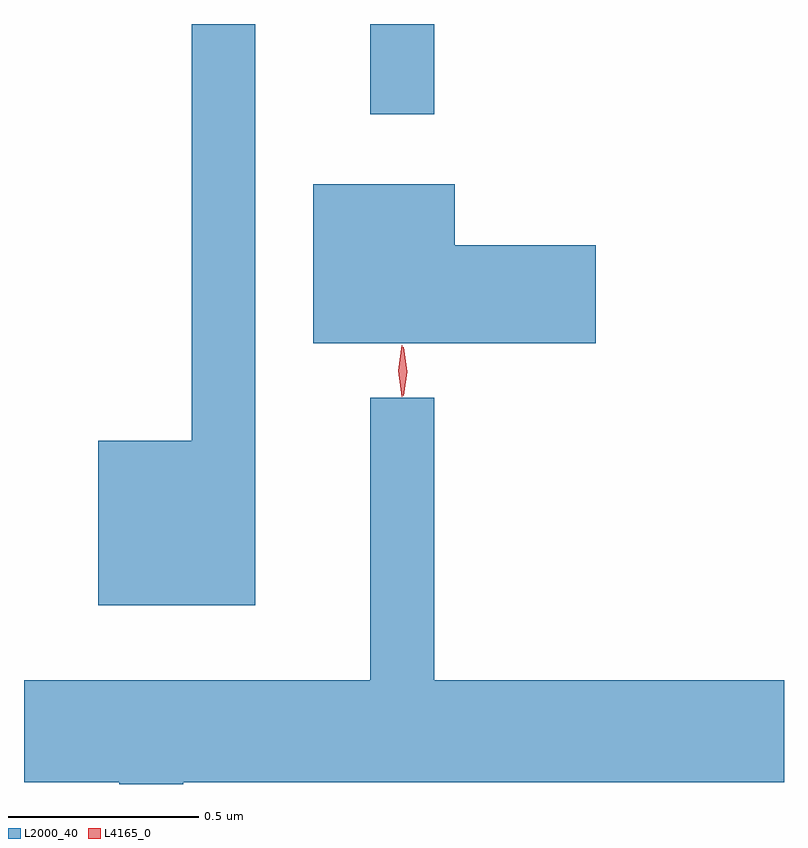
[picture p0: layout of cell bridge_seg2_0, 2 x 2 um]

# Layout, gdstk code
import gdstk
lib = gdstk.Library(unit=1e-6, precision=1e-09)
def R(c, l, rs):  # rectangles x0, y0, x1, y1
    for r in rs: c.add(gdstk.rectangle(r[:2], r[2:], *l))
def P(c, l, *ps):  # polygons
    for p in ps: c.add(gdstk.Polygon(p, *l))
L2000_40 = (2000, 40)
L4165_0 = (4165, 0)

bridge_seg2_0 = lib.new_cell('bridge_seg2_0')
R(bridge_seg2_0, L2000_40, [(1910.981,1023.433,1911.149,1023.671)])
P(bridge_seg2_0, L2000_40, [(1910.679,1023.671),(1910.511,1023.671),(1910.511,1022.574),(1910.266,1022.574),(1910.266,1022.141),(1910.679,1022.141)],
  [(1911.574,1023.089),(1911.204,1023.089),(1911.204,1023.249),(1910.831,1023.249),(1910.831,1022.831),(1911.574,1022.831)],
  [(1910.489,1021.676),(1912.07,1021.676),(1912.07,1021.944),(1911.149,1021.944),(1911.149,1022.688),(1910.981,1022.688),(1910.981,1021.944),(1910.07,1021.944),(1910.07,1021.676),(1910.321,1021.676),(1910.321,1021.671),(1910.489,1021.671)])
P(bridge_seg2_0, L4165_0, [(1911.064,1022.69),(1911.055,1022.758),(1911.064,1022.825),(1911.064,1022.826),(1911.065,1022.825),(1911.074,1022.758),(1911.065,1022.69),(1911.065,1022.69)],
  [(1911.068,1022.693),(1911.068,1022.693),(1911.058,1022.756),(1911.068,1022.82),(1911.068,1022.82),(1911.069,1022.82),(1911.078,1022.756),(1911.069,1022.693)])

lib.write_gds('bridge_seg2_0.gds')
